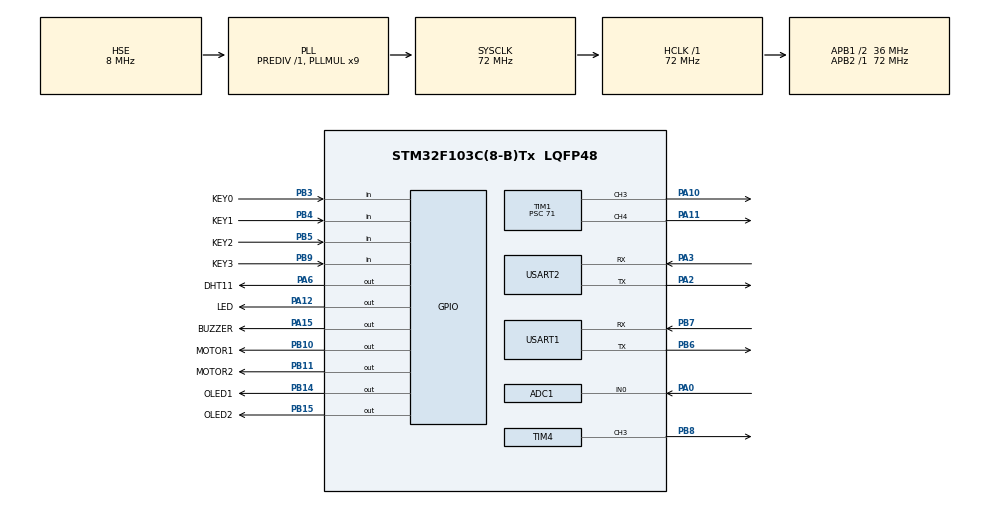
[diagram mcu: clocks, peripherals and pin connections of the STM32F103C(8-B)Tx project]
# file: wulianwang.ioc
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ADC1.Channel-1\#ChannelRegularConversion=ADC_CHANNEL_0
ADC1.ContinuousConvMode=DISABLE
ADC1.EnableRegularConversion=ENABLE
ADC1.ExternalTrigConv=ADC_EXTERNALTRIGCONV_T3_TRGO
ADC1.NbrOfConversionFlag=1
ADC1.Rank-1\#ChannelRegularConversion=1
ADC1.SamplingTime-1\#ChannelRegularConversion=ADC_SAMPLETIME_55CYCLES_5
ADC1.master=1
Dma.ADC1.0.Direction=DMA_PERIPH_TO_MEMORY
Dma.ADC1.0.Instance=DMA1_Channel1
Dma.ADC1.0.MemDataAlignment=DMA_MDATAALIGN_HALFWORD
Dma.ADC1.0.MemInc=DMA_MINC_ENABLE
Dma.ADC1.0.Mode=DMA_CIRCULAR
Dma.ADC1.0.PeriphDataAlignment=DMA_PDATAALIGN_HALFWORD
Dma.ADC1.0.PeriphInc=DMA_PINC_DISABLE
Dma.ADC1.0.Priority=DMA_PRIORITY_LOW
Dma.Request0=ADC1
Mcu.Family=STM32F1
Mcu.Name=STM32F103C(8-B)Tx
Mcu.Package=LQFP48
NVIC.ADC1_2_IRQn=true\:1\:0\:true\:false\:true\:true\:true
NVIC.DMA1_Channel1_IRQn=true\:0\:0\:false\:false\:true\:false\:true
NVIC.PriorityGroup=NVIC_PRIORITYGROUP_4
NVIC.TIM3_IRQn=true\:0\:0\:false\:false\:true\:true\:true
NVIC.TIM4_IRQn=true\:0\:0\:false\:false\:true\:true\:true
NVIC.USART2_IRQn=true\:0\:0\:true\:false\:true\:true\:true
PA0-WKUP.Signal=ADCx_IN0
PA10.Signal=S_TIM1_CH3
PA11.Signal=S_TIM1_CH4
PA12.GPIO_Label=LED
PA12.PinState=GPIO_PIN_SET
PA12.Signal=GPIO_Output
PA13.Mode=Serial_Wire
PA13.Signal=SYS_JTMS-SWDIO
PA14.Mode=Serial_Wire
PA14.Signal=SYS_JTCK-SWCLK
PA15.GPIO_Label=BUZZER
PA15.PinState=GPIO_PIN_SET
PA15.Signal=GPIO_Output
PA2.Mode=Asynchronous
PA2.Signal=USART2_TX
PA3.Mode=Asynchronous
PA3.Signal=USART2_RX
PA6.GPIO_Label=DHT11
PA6.Signal=GPIO_Output
PB10.GPIO_Label=MOTOR1
PB10.Signal=GPIO_Output
PB11.GPIO_Label=MOTOR2
PB11.Signal=GPIO_Output
PB14.GPIO_Label=OLED1
PB14.Signal=GPIO_Output
PB15.GPIO_Label=OLED2
PB15.Signal=GPIO_Output
PB3.GPIO_Label=KEY0
PB3.Signal=GPIO_Input
PB4.GPIO_Label=KEY1
PB4.Signal=GPIO_Input
PB5.GPIO_Label=KEY2
PB5.Signal=GPIO_Input
PB6.Mode=Asynchronous
PB6.Signal=USART1_TX
PB7.Mode=Asynchronous
PB7.Signal=USART1_RX
PB8.Signal=S_TIM4_CH3
PB9.GPIO_Label=KEY3
PB9.Signal=GPIO_Input
PC14-OSC32_IN.Mode=LSE-External-Oscillator
PC14-OSC32_IN.Signal=RCC_OSC32_IN
PC15-OSC32_OUT.Mode=LSE-External-Oscillator
PC15-OSC32_OUT.Signal=RCC_OSC32_OUT
PD0-OSC_IN.Mode=HSE-External-Oscillator
PD0-OSC_IN.Signal=RCC_OSC_IN
PD1-OSC_OUT.Mode=HSE-External-Oscillator
PD1-OSC_OUT.Signal=RCC_OSC_OUT
ProjectManager.HeapSize=0x200
ProjectManager.StackSize=0x400
ProjectManager.TargetToolchain=MDK-ARM V5.27
RCC.ADCPresc=RCC_ADCPCLK2_DIV6
RCC.AHBFreq_Value=72000000
RCC.APB1CLKDivider=RCC_HCLK_DIV2
RCC.APB1Freq_Value=36000000
RCC.APB1TimFreq_Value=72000000
RCC.APB2Freq_Value=72000000
RCC.APB2TimFreq_Value=72000000
RCC.HCLKFreq_Value=72000000
RCC.PLLMUL=RCC_PLL_MUL9
RCC.PLLSourceVirtual=RCC_PLLSOURCE_HSE
RCC.SYSCLKFreq_VALUE=72000000
RCC.SYSCLKSource=RCC_SYSCLKSOURCE_PLLCLK
RCC.USBFreq_Value=72000000
SH.ADCx_IN0.0=ADC1_IN0,IN0
SH.S_TIM1_CH3.0=TIM1_CH3,PWM Generation3 CH3
SH.S_TIM1_CH4.0=TIM1_CH4,PWM Generation4 CH4
SH.S_TIM4_CH3.0=TIM4_CH3,PWM Generation3 CH3
TIM1.Channel-PWM\ Generation3\ CH3=TIM_CHANNEL_3
TIM1.Channel-PWM\ Generation4\ CH4=TIM_CHANNEL_4
TIM1.OCPolarity_3=TIM_OCPOLARITY_HIGH
TIM1.Period=999
TIM1.Prescaler=71
TIM2.Prescaler=71
TIM3.Period=9999
TIM3.Prescaler=719
TIM3.TIM_MasterOutputTrigger=TIM_TRGO_UPDATE
TIM4.Channel-PWM\ Generation3\ CH3=TIM_CHANNEL_3
TIM4.Period=9999
TIM4.Prescaler=71
USART1.VirtualMode=VM_ASYNC
USART2.VirtualMode=VM_ASYNC
VP_TIM1_VS_ClockSourceINT.Mode=Internal
VP_TIM2_VS_ClockSourceINT.Mode=Internal
VP_TIM3_VS_ClockSourceINT.Mode=Internal
VP_TIM4_VS_ClockSourceINT.Mode=Internal
board=custom

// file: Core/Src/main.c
/* USER CODE BEGIN Header */
/**
  ******************************************************************************
  * @file           : main.c
  * @brief          : Main program body
  ******************************************************************************
  * @attention
  *
  * <h2><center>&copy; Copyright (c) 2025 STMicroelectronics.
  * All rights reserved.</center></h2>
  *
  * This software component is licensed by ST under BSD 3-Clause license,
  * the "License"; You may not use this file except in compliance with the
  * License. You may obtain a copy of the License at:
  *                        opensource.org/licenses/BSD-3-Clause
  *
  ******************************************************************************
  */
/* USER CODE END Header */
#include "main.h"
#include "adc.h"
#include "dma.h"
#include "tim.h"
#include "usart.h"
#include "gpio.h"

/* USER CODE BEGIN Includes */
#include "OLED.h"
#include "stdio.h"
#include "string.h"
#include "DHT11.h"
#include "light.h"
#include "motor.h"
#include "BUZZER.h"
#include "esp8266.h"
#include "onenet.h"
#include "app_config.h"

/* USER CODE END Includes */

/* USER CODE BEGIN PTD */

int fputc(int ch,FILE *f)
{
    HAL_UART_Transmit(&huart1,(uint8_t *) &ch,1,HAL_MAX_DELAY);
    return ch;
}
int fgetc(FILE *f)
{
    uint8_t ch;
    HAL_UART_Receive(&huart1,(uint8_t *)&ch,1,HAL_MAX_DELAY);
    return ch;
}

/* USER CODE END PTD */

/* USER CODE BEGIN PV */
// Product and device identifiers are defined in the local configuration.
const char devPubTopic[] = "$sys/" APP_ONENET_PRODUCT_ID "/" APP_ONENET_DEVICE_NAME "/thing/property/post";
const char *devSubTopic[] = {"$sys/" APP_ONENET_PRODUCT_ID "/" APP_ONENET_DEVICE_NAME "/thing/property/set"};
unsigned char *dataPtr = NULL;

uint8_t flag1;//定时器标志
uint16_t TimeCount;//定时器计数

float light,light_max=90.0;//光强
DHT11_DataTypedef DHT11_Data;//温湿度
uint8_t temp_int_max=25,humi_int_max=70;
uint8_t Alarm_flag=0;//小程序控制报警器的开关

uint8_t feng=0;
char PUBLIS_BUF[512];

/* USER CODE END PV */

void SystemClock_Config(void);

/* USER CODE BEGIN 0 */

void JsonValue()
{
	uint8_t Temp = DHT11_Data.temp_int;
	uint8_t Hum = DHT11_Data.humi_int;

	memset(PUBLIS_BUF, 0, sizeof(PUBLIS_BUF));

	sprintf(PUBLIS_BUF,"{\"id\":\"123\",\"params\":{\"W\":{\"value\":%d},\"S\":{\"value\":%d},\"G\":{\"value\":%d}}}",
					DHT11_Data.temp_int,DHT11_Data.humi_int,(int)light);
}

void Alarm_Statue()
{
	if(Alarm_flag)
	{
		if(DHT11_Data.temp_int > temp_int_max || DHT11_Data.humi_int > humi_int_max || light > light_max)
		{
			BUZZER_ON();
		}
		else
		{
			BUZZER_OFF();
		}

	}
	else
	{
		BUZZER_OFF();
	}

}

void feng_Statue()
{
	switch(feng)
	{
		case 0:
      Motor_Stop();
			break;
		case 1:
      Motor_SetSpeed(300);//一档速度
			break;
		case 2:
      Motor_SetSpeed(500);//二档速度
			break;
		case 3:
      Motor_SetSpeed(750);//三档速度
			break;
	}
}

/* USER CODE END 0 */

int main(void)
{

  /* MCU Configuration--------------------------------------------------------*/

  /* Reset of all peripherals, Initializes the Flash interface and the Systick. */
  HAL_Init();

  /* Configure the system clock */
  SystemClock_Config();

  /* Initialize all configured peripherals */
  MX_GPIO_Init();
  MX_DMA_Init();
  MX_TIM3_Init();
  MX_ADC1_Init();
  MX_TIM2_Init();
  MX_TIM1_Init();
  MX_USART2_UART_Init();
  MX_USART1_UART_Init();
  MX_TIM4_Init();
  /* USER CODE BEGIN 2 */
	OLED_Init();
	OLED_Clear();
	light_ADC();
	HAL_TIM_Base_Start(&htim2);
	HAL_TIM_Base_Start_IT(&htim3);

	HAL_TIM_PWM_Start(&htim1,TIM_CHANNEL_3);
	HAL_TIM_PWM_Start(&htim4,TIM_CHANNEL_3);

printf("网络链接中!!!\r\n");
ESP8266_StartRecive();// 开启串口中断
ESP8266_Init();

	while(OneNet_DevLink())
	{
		delay_ms(500);
	}

	/*订阅Topic主题*/
	OneNet_Subscribe(devSubTopic, 1);
	delay_ms(1000);
  /* USER CODE END 2 */

  /* Infinite loop */
  /* USER CODE BEGIN WHILE */
  while (1)
  {
		light = (4096.0f - (float)light_ADC_Value) / 4096.0f * 100.0f;
		DHT11_Read_Data(&DHT11_Data);
		Alarm_Statue();
		feng_Statue();
/*****************************定时上传数据到云平台**********************************************/
		if(flag1)
		{
			JsonValue();
			OneNet_Publish(devPubTopic, PUBLIS_BUF);
			ESP8266_Clear();
			TimeCount = 0;
			flag1=0;
		}

/*****************************接收检测云平台发送过来的数据**********************************************/

		dataPtr = ESP8266_GetIPD(2);
		if(dataPtr != NULL)
		{
		 OneNet_RevPro(dataPtr);
		}

    /* USER CODE END WHILE */

  }
}

void SystemClock_Config(void)
{
  RCC_OscInitTypeDef RCC_OscInitStruct = {0};
  RCC_ClkInitTypeDef RCC_ClkInitStruct = {0};
  RCC_PeriphCLKInitTypeDef PeriphClkInit = {0};

  /** Initializes the RCC Oscillators according to the specified parameters
  * in the RCC_OscInitTypeDef structure.
  */
  RCC_OscInitStruct.OscillatorType = RCC_OSCILLATORTYPE_HSE;
  RCC_OscInitStruct.HSEState = RCC_HSE_ON;
  RCC_OscInitStruct.HSEPredivValue = RCC_HSE_PREDIV_DIV1;
  RCC_OscInitStruct.HSIState = RCC_HSI_ON;
  RCC_OscInitStruct.PLL.PLLState = RCC_PLL_ON;
  RCC_OscInitStruct.PLL.PLLSource = RCC_PLLSOURCE_HSE;
  RCC_OscInitStruct.PLL.PLLMUL = RCC_PLL_MUL9;
  if (HAL_RCC_OscConfig(&RCC_OscInitStruct) != HAL_OK)
  {
    Error_Handler();
  }
  /** Initializes the CPU, AHB and APB buses clocks
  */
  RCC_ClkInitStruct.ClockType = RCC_CLOCKTYPE_HCLK|RCC_CLOCKTYPE_SYSCLK
                              |RCC_CLOCKTYPE_PCLK1|RCC_CLOCKTYPE_PCLK2;
  RCC_ClkInitStruct.SYSCLKSource = RCC_SYSCLKSOURCE_PLLCLK;
  RCC_ClkInitStruct.AHBCLKDivider = RCC_SYSCLK_DIV1;
  RCC_ClkInitStruct.APB1CLKDivider = RCC_HCLK_DIV2;
  RCC_ClkInitStruct.APB2CLKDivider = RCC_HCLK_DIV1;

  if (HAL_RCC_ClockConfig(&RCC_ClkInitStruct, FLASH_LATENCY_2) != HAL_OK)
  {
    Error_Handler();
  }
  PeriphClkInit.PeriphClockSelection = RCC_PERIPHCLK_ADC;
  PeriphClkInit.AdcClockSelection = RCC_ADCPCLK2_DIV6;
  if (HAL_RCCEx_PeriphCLKConfig(&PeriphClkInit) != HAL_OK)
  {
    Error_Handler();
  }
}

/* USER CODE BEGIN 4 */
//void HAL_ADC_ConvCpltCallback(ADC_HandleTypeDef*hadc)
//{
//	flag1=1;
//}

void HAL_TIM_PeriodElapsedCallback(TIM_HandleTypeDef *htim)
{
	// 判断是否是 TIM3 触发的中断
    if (htim->Instance == TIM3)
    {
			if(++TimeCount >= 40)
			{
				flag1=1;
			}

		}
}

/* USER CODE END 4 */

void Error_Handler(void)
{
  __disable_irq();
  while (1)
  {
  }
}

/************************ (C) COPYRIGHT STMicroelectronics *****END OF FILE****/
